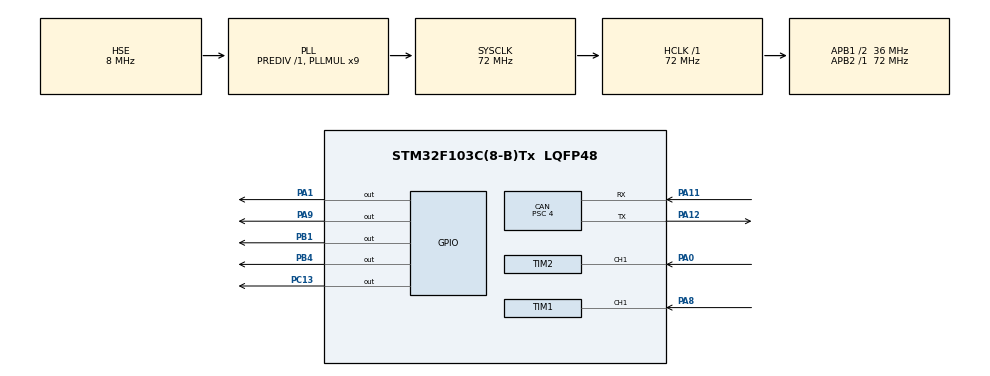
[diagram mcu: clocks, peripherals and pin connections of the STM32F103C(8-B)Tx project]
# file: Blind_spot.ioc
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CAN.BS1=CAN_BS1_15TQ
CAN.BS2=CAN_BS2_2TQ
CAN.CalculateBaudRate=500000
CAN.CalculateTimeBit=2000
CAN.CalculateTimeQuantum=111.11111111111111
CAN.Prescaler=4
Mcu.Family=STM32F1
Mcu.Name=STM32F103C(8-B)Tx
Mcu.Package=LQFP48
NVIC.PriorityGroup=NVIC_PRIORITYGROUP_4
NVIC.TIM1_CC_IRQn=true\:0\:0\:false\:false\:true\:true\:true\:true
NVIC.TIM2_IRQn=true\:0\:0\:false\:false\:true\:true\:true\:true
PA0-WKUP.Signal=S_TIM2_CH1_ETR
PA1.Signal=GPIO_Output
PA11.GPIO_PuPd=GPIO_PULLUP
PA11.Mode=CAN_Activate
PA11.Signal=CAN_RX
PA12.Mode=CAN_Activate
PA12.Signal=CAN_TX
PA13.Mode=Serial_Wire
PA13.Signal=SYS_JTMS-SWDIO
PA14.Mode=Serial_Wire
PA14.Signal=SYS_JTCK-SWCLK
PA8.Signal=S_TIM1_CH1
PA9.Signal=GPIO_Output
PB1.GPIO_PuPd=GPIO_PULLUP
PB1.Signal=GPIO_Output
PB4.GPIO_PuPd=GPIO_PULLUP
PB4.Signal=GPIO_Output
PC13-TAMPER-RTC.GPIO_PuPd=GPIO_PULLUP
PC13-TAMPER-RTC.Signal=GPIO_Output
PD0-OSC_IN.Mode=HSE-External-Oscillator
PD0-OSC_IN.Signal=RCC_OSC_IN
PD1-OSC_OUT.Mode=HSE-External-Oscillator
PD1-OSC_OUT.Signal=RCC_OSC_OUT
ProjectManager.HeapSize=0x200
ProjectManager.StackSize=0x400
ProjectManager.TargetToolchain=STM32CubeIDE
RCC.AHBFreq_Value=72000000
RCC.APB1CLKDivider=RCC_HCLK_DIV2
RCC.APB1Freq_Value=36000000
RCC.APB1TimFreq_Value=72000000
RCC.APB2Freq_Value=72000000
RCC.APB2TimFreq_Value=72000000
RCC.HCLKFreq_Value=72000000
RCC.PLLMUL=RCC_PLL_MUL9
RCC.PLLSourceVirtual=RCC_PLLSOURCE_HSE
RCC.SYSCLKFreq_VALUE=72000000
RCC.SYSCLKSource=RCC_SYSCLKSOURCE_PLLCLK
RCC.USBFreq_Value=72000000
SH.S_TIM1_CH1.0=TIM1_CH1,Input_Capture1_from_TI1
SH.S_TIM2_CH1_ETR.0=TIM2_CH1,Input_Capture1_from_TI1
TIM1.Channel-Input_Capture1_from_TI1=TIM_CHANNEL_1
TIM1.Prescaler=71
TIM2.Channel-Input_Capture1_from_TI1=TIM_CHANNEL_1
TIM2.Prescaler=71
VP_TIM1_VS_ClockSourceINT.Mode=Internal
VP_TIM2_VS_ClockSourceINT.Mode=Internal
board=custom

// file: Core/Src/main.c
/* USER CODE BEGIN Header */
/**
  ******************************************************************************
  * @file           : main.c
  * @brief          : Main program body
  ******************************************************************************
  * @attention
  *
  * Copyright (c) 2025 STMicroelectronics.
  * All rights reserved.
  *
  * This software is licensed under terms that can be found in the LICENSE file
  * in the root directory of this software component.
  * If no LICENSE file comes with this software, it is provided AS-IS.
  *
  ******************************************************************************
  */
/* USER CODE END Header */
#include "main.h"

/* USER CODE BEGIN PD */
#define ULSN_TRIG_PORT GPIOA
#define ULSN_1_TRIG_PIN GPIO_PIN_1
#define ULSN_2_TRIG_PIN GPIO_PIN_9
/* USER CODE END PD */

CAN_HandleTypeDef hcan;

TIM_HandleTypeDef htim1;
TIM_HandleTypeDef htim2;

/* USER CODE BEGIN PV */
// Ultrasonic left
uint32_t value1_sensor_left = 0;
uint32_t value2_sensor_left = 0;
uint32_t Diff_sensor_left = 0;
uint8_t Is_First_Captured_sensor_left = 0;
uint8_t Distance_sensor_left = 0;

// Ultrasonic right
uint32_t value1_sensor_right = 0;
uint32_t value2_sensor_right = 0;
uint32_t Diff_sensor_right = 0;
uint8_t Is_First_Captured_sensor_right = 0;
uint8_t Distance_sensor_right = 0;
/* USER CODE END PV */

void SystemClock_Config(void);
static void MX_GPIO_Init(void);
static void MX_CAN_Init(void);
static void MX_TIM1_Init(void);
static void MX_TIM2_Init(void);

/* USER CODE BEGIN 0 */
void delay_us(uint16_t us)
{
    __HAL_TIM_SET_COUNTER(&htim1, 0);
    while (__HAL_TIM_GET_COUNTER(&htim1) < us);
}
void HAL_TIM_IC_CaptureCallback(TIM_HandleTypeDef *htim)
{
    // Cảm biến 1 (TIM1_CH1)
    if (htim->Instance == TIM1 && htim->Channel == HAL_TIM_ACTIVE_CHANNEL_1)
    {
        if (Is_First_Captured_sensor_left == 0)
        {
            value1_sensor_left = HAL_TIM_ReadCapturedValue(htim, TIM_CHANNEL_1);
            Is_First_Captured_sensor_left = 1;
            __HAL_TIM_SET_CAPTUREPOLARITY(htim, TIM_CHANNEL_1, TIM_INPUTCHANNELPOLARITY_FALLING);
        }
        else if (Is_First_Captured_sensor_left == 1)
        {
            value2_sensor_left = HAL_TIM_ReadCapturedValue(htim, TIM_CHANNEL_1);
            __HAL_TIM_SET_COUNTER(htim, 0);
            if (value2_sensor_left > value1_sensor_left)
            {
                Diff_sensor_left = value2_sensor_left - value1_sensor_left;
            }
            else if (value1_sensor_left > value2_sensor_left)
            {
                Diff_sensor_left = (0xffff - value1_sensor_left) + value2_sensor_left;
            }
            Distance_sensor_left = (Diff_sensor_left * 0.034) / 2;
            Is_First_Captured_sensor_left = 0;
            __HAL_TIM_SET_CAPTUREPOLARITY(htim, TIM_CHANNEL_1, TIM_INPUTCHANNELPOLARITY_RISING);
            __HAL_TIM_DISABLE_IT(&htim1, TIM_IT_CC1);
        }
    }
    // Cảm biến 2 (TIM2_CH1)
    if (htim->Instance == TIM2 && htim->Channel == HAL_TIM_ACTIVE_CHANNEL_1)
    {
        if (Is_First_Captured_sensor_right == 0)
        {
            value1_sensor_right = HAL_TIM_ReadCapturedValue(htim, TIM_CHANNEL_1);
            Is_First_Captured_sensor_right = 1;
            __HAL_TIM_SET_CAPTUREPOLARITY(htim, TIM_CHANNEL_1, TIM_INPUTCHANNELPOLARITY_FALLING);
        }
        else if (Is_First_Captured_sensor_right == 1)
        {
            value2_sensor_right = HAL_TIM_ReadCapturedValue(htim, TIM_CHANNEL_1);
            __HAL_TIM_SET_COUNTER(htim, 0);
            if (value2_sensor_right > value1_sensor_right)
            {
                Diff_sensor_right = value2_sensor_right - value1_sensor_right;
            }
            else if (value1_sensor_right > value2_sensor_right)
            {
                Diff_sensor_right = (0xffff - value1_sensor_right) + value2_sensor_right;
            }
            Distance_sensor_right = (Diff_sensor_right * 0.034) / 2;
            Is_First_Captured_sensor_right = 0;
            __HAL_TIM_SET_CAPTUREPOLARITY(htim, TIM_CHANNEL_1, TIM_INPUTCHANNELPOLARITY_RISING);
            __HAL_TIM_DISABLE_IT(&htim2, TIM_IT_CC1);
        }
    }
}
void HCSR04_Read(void)
{
	HAL_GPIO_WritePin(ULSN_TRIG_PORT, ULSN_1_TRIG_PIN, GPIO_PIN_SET);
    delay_us(10);
    HAL_GPIO_WritePin(ULSN_TRIG_PORT, ULSN_1_TRIG_PIN, GPIO_PIN_RESET);
    __HAL_TIM_ENABLE_IT(&htim1, TIM_IT_CC1);
    while (Is_First_Captured_sensor_left != 0 || Distance_sensor_left == 0);

    delay_us(50);
    // Đo cảm biến 2
    HAL_GPIO_WritePin(ULSN_TRIG_PORT, ULSN_2_TRIG_PIN, GPIO_PIN_SET);
    delay_us(10);
    HAL_GPIO_WritePin(ULSN_TRIG_PORT, ULSN_2_TRIG_PIN, GPIO_PIN_RESET);
    __HAL_TIM_ENABLE_IT(&htim2, TIM_IT_CC1);
    while (Is_First_Captured_sensor_right != 0 || Distance_sensor_right == 0);
}
void CAN_Send_Distances(uint8_t blind1, uint8_t blind2)
{
    CAN_TxHeaderTypeDef TxHeader;
    uint8_t TxData[2];
    uint32_t TxMailbox;

    TxHeader.StdId = 0x03;         // ID tin nhắn
    TxHeader.RTR = CAN_RTR_DATA;
    TxHeader.IDE = CAN_ID_STD;
    TxHeader.DLC = 2;               // 2 byte: dist1, dist2
    TxHeader.TransmitGlobalTime = DISABLE;

    TxData[0] = blind1;              // Khoảng cách cảm biến 1
    TxData[1] = blind2;              // Khoảng cách cảm biến 2

    if (HAL_CAN_AddTxMessage(&hcan, &TxHeader, TxData, &TxMailbox) != HAL_OK)
    {
        Error_Handler();
    }
}
/* USER CODE END 0 */

int main(void)
{

  /* MCU Configuration--------------------------------------------------------*/

  /* Reset of all peripherals, Initializes the Flash interface and the Systick. */
  HAL_Init();

  /* Configure the system clock */
  SystemClock_Config();

  /* Initialize all configured peripherals */
  MX_GPIO_Init();
  MX_CAN_Init();
  MX_TIM1_Init();
  MX_TIM2_Init();
  /* USER CODE BEGIN 2 */
  HAL_TIM_IC_Start_IT(&htim1, TIM_CHANNEL_1);
  HAL_TIM_IC_Start_IT(&htim2, TIM_CHANNEL_1);
  HAL_CAN_Start(&hcan);
  /* USER CODE END 2 */

  /* Infinite loop */
  while (1)
  {

    /* USER CODE BEGIN 3 */
	  uint8_t blind_detect_left,blind_detect_right;
	  HCSR04_Read();
	  if(Distance_sensor_left < 15)
	  {
		  blind_detect_left = 1;
		  HAL_GPIO_WritePin(GPIOB, GPIO_PIN_4, GPIO_PIN_SET);
	  }
	  else
	  {
		  blind_detect_left = 0;
		  HAL_GPIO_WritePin(GPIOB, GPIO_PIN_4, GPIO_PIN_RESET);
	  }
	  if(Distance_sensor_right < 15)
	  {
		  blind_detect_right = 1;
		  HAL_GPIO_WritePin(GPIOB, GPIO_PIN_1, GPIO_PIN_SET);
	  }
	  else
	  {
		  blind_detect_right = 0;
		  HAL_GPIO_WritePin(GPIOB, GPIO_PIN_1, GPIO_PIN_RESET);
	  }
	  CAN_Send_Distances(blind_detect_left, blind_detect_right);
	  HAL_Delay(100);
  }
  /* USER CODE END 3 */
}

void SystemClock_Config(void)
{
  RCC_OscInitTypeDef RCC_OscInitStruct = {0};
  RCC_ClkInitTypeDef RCC_ClkInitStruct = {0};

  /** Initializes the RCC Oscillators according to the specified parameters
  * in the RCC_OscInitTypeDef structure.
  */
  RCC_OscInitStruct.OscillatorType = RCC_OSCILLATORTYPE_HSE;
  RCC_OscInitStruct.HSEState = RCC_HSE_ON;
  RCC_OscInitStruct.HSEPredivValue = RCC_HSE_PREDIV_DIV1;
  RCC_OscInitStruct.HSIState = RCC_HSI_ON;
  RCC_OscInitStruct.PLL.PLLState = RCC_PLL_ON;
  RCC_OscInitStruct.PLL.PLLSource = RCC_PLLSOURCE_HSE;
  RCC_OscInitStruct.PLL.PLLMUL = RCC_PLL_MUL9;
  if (HAL_RCC_OscConfig(&RCC_OscInitStruct) != HAL_OK)
  {
    Error_Handler();
  }

  /** Initializes the CPU, AHB and APB buses clocks
  */
  RCC_ClkInitStruct.ClockType = RCC_CLOCKTYPE_HCLK|RCC_CLOCKTYPE_SYSCLK
                              |RCC_CLOCKTYPE_PCLK1|RCC_CLOCKTYPE_PCLK2;
  RCC_ClkInitStruct.SYSCLKSource = RCC_SYSCLKSOURCE_PLLCLK;
  RCC_ClkInitStruct.AHBCLKDivider = RCC_SYSCLK_DIV1;
  RCC_ClkInitStruct.APB1CLKDivider = RCC_HCLK_DIV2;
  RCC_ClkInitStruct.APB2CLKDivider = RCC_HCLK_DIV1;

  if (HAL_RCC_ClockConfig(&RCC_ClkInitStruct, FLASH_LATENCY_2) != HAL_OK)
  {
    Error_Handler();
  }
}

static void MX_CAN_Init(void)
{

  hcan.Instance = CAN1;
  hcan.Init.Prescaler = 4;
  hcan.Init.Mode = CAN_MODE_NORMAL;
  hcan.Init.SyncJumpWidth = CAN_SJW_1TQ;
  hcan.Init.TimeSeg1 = CAN_BS1_15TQ;
  hcan.Init.TimeSeg2 = CAN_BS2_2TQ;
  hcan.Init.TimeTriggeredMode = DISABLE;
  hcan.Init.AutoBusOff = DISABLE;
  hcan.Init.AutoWakeUp = DISABLE;
  hcan.Init.AutoRetransmission = DISABLE;
  hcan.Init.ReceiveFifoLocked = DISABLE;
  hcan.Init.TransmitFifoPriority = DISABLE;
  if (HAL_CAN_Init(&hcan) != HAL_OK)
  {
    Error_Handler();
  }

}

static void MX_TIM1_Init(void)
{

  TIM_ClockConfigTypeDef sClockSourceConfig = {0};
  TIM_MasterConfigTypeDef sMasterConfig = {0};
  TIM_IC_InitTypeDef sConfigIC = {0};

  htim1.Instance = TIM1;
  htim1.Init.Prescaler = 71;
  htim1.Init.CounterMode = TIM_COUNTERMODE_UP;
  htim1.Init.Period = 65535;
  htim1.Init.ClockDivision = TIM_CLOCKDIVISION_DIV1;
  htim1.Init.RepetitionCounter = 0;
  htim1.Init.AutoReloadPreload = TIM_AUTORELOAD_PRELOAD_DISABLE;
  if (HAL_TIM_Base_Init(&htim1) != HAL_OK)
  {
    Error_Handler();
  }
  sClockSourceConfig.ClockSource = TIM_CLOCKSOURCE_INTERNAL;
  if (HAL_TIM_ConfigClockSource(&htim1, &sClockSourceConfig) != HAL_OK)
  {
    Error_Handler();
  }
  if (HAL_TIM_IC_Init(&htim1) != HAL_OK)
  {
    Error_Handler();
  }
  sMasterConfig.MasterOutputTrigger = TIM_TRGO_RESET;
  sMasterConfig.MasterSlaveMode = TIM_MASTERSLAVEMODE_DISABLE;
  if (HAL_TIMEx_MasterConfigSynchronization(&htim1, &sMasterConfig) != HAL_OK)
  {
    Error_Handler();
  }
  sConfigIC.ICPolarity = TIM_INPUTCHANNELPOLARITY_RISING;
  sConfigIC.ICSelection = TIM_ICSELECTION_DIRECTTI;
  sConfigIC.ICPrescaler = TIM_ICPSC_DIV1;
  sConfigIC.ICFilter = 0;
  if (HAL_TIM_IC_ConfigChannel(&htim1, &sConfigIC, TIM_CHANNEL_1) != HAL_OK)
  {
    Error_Handler();
  }

}

static void MX_TIM2_Init(void)
{

  TIM_ClockConfigTypeDef sClockSourceConfig = {0};
  TIM_MasterConfigTypeDef sMasterConfig = {0};
  TIM_IC_InitTypeDef sConfigIC = {0};

  htim2.Instance = TIM2;
  htim2.Init.Prescaler = 71;
  htim2.Init.CounterMode = TIM_COUNTERMODE_UP;
  htim2.Init.Period = 65535;
  htim2.Init.ClockDivision = TIM_CLOCKDIVISION_DIV1;
  htim2.Init.AutoReloadPreload = TIM_AUTORELOAD_PRELOAD_DISABLE;
  if (HAL_TIM_Base_Init(&htim2) != HAL_OK)
  {
    Error_Handler();
  }
  sClockSourceConfig.ClockSource = TIM_CLOCKSOURCE_INTERNAL;
  if (HAL_TIM_ConfigClockSource(&htim2, &sClockSourceConfig) != HAL_OK)
  {
    Error_Handler();
  }
  if (HAL_TIM_IC_Init(&htim2) != HAL_OK)
  {
    Error_Handler();
  }
  sMasterConfig.MasterOutputTrigger = TIM_TRGO_RESET;
  sMasterConfig.MasterSlaveMode = TIM_MASTERSLAVEMODE_DISABLE;
  if (HAL_TIMEx_MasterConfigSynchronization(&htim2, &sMasterConfig) != HAL_OK)
  {
    Error_Handler();
  }
  sConfigIC.ICPolarity = TIM_INPUTCHANNELPOLARITY_RISING;
  sConfigIC.ICSelection = TIM_ICSELECTION_DIRECTTI;
  sConfigIC.ICPrescaler = TIM_ICPSC_DIV1;
  sConfigIC.ICFilter = 0;
  if (HAL_TIM_IC_ConfigChannel(&htim2, &sConfigIC, TIM_CHANNEL_1) != HAL_OK)
  {
    Error_Handler();
  }

}

static void MX_GPIO_Init(void)
{
  GPIO_InitTypeDef GPIO_InitStruct = {0};

  /* GPIO Ports Clock Enable */
  __HAL_RCC_GPIOC_CLK_ENABLE();
  __HAL_RCC_GPIOD_CLK_ENABLE();
  __HAL_RCC_GPIOA_CLK_ENABLE();
  __HAL_RCC_GPIOB_CLK_ENABLE();

  /*Configure GPIO pin Output Level */
  HAL_GPIO_WritePin(GPIOC, GPIO_PIN_13, GPIO_PIN_RESET);

  /*Configure GPIO pin Output Level */
  HAL_GPIO_WritePin(GPIOA, GPIO_PIN_1|GPIO_PIN_9, GPIO_PIN_RESET);

  /*Configure GPIO pin Output Level */
  HAL_GPIO_WritePin(GPIOB, GPIO_PIN_1|GPIO_PIN_4, GPIO_PIN_RESET);

  /*Configure GPIO pin : PC13 */
  GPIO_InitStruct.Pin = GPIO_PIN_13;
  GPIO_InitStruct.Mode = GPIO_MODE_OUTPUT_PP;
  GPIO_InitStruct.Pull = GPIO_PULLUP;
  GPIO_InitStruct.Speed = GPIO_SPEED_FREQ_LOW;
  HAL_GPIO_Init(GPIOC, &GPIO_InitStruct);

  /*Configure GPIO pins : PA1 PA9 */
  GPIO_InitStruct.Pin = GPIO_PIN_1|GPIO_PIN_9;
  GPIO_InitStruct.Mode = GPIO_MODE_OUTPUT_PP;
  GPIO_InitStruct.Pull = GPIO_NOPULL;
  GPIO_InitStruct.Speed = GPIO_SPEED_FREQ_LOW;
  HAL_GPIO_Init(GPIOA, &GPIO_InitStruct);

  /*Configure GPIO pins : PB1 PB4 */
  GPIO_InitStruct.Pin = GPIO_PIN_1|GPIO_PIN_4;
  GPIO_InitStruct.Mode = GPIO_MODE_OUTPUT_PP;
  GPIO_InitStruct.Pull = GPIO_PULLUP;
  GPIO_InitStruct.Speed = GPIO_SPEED_FREQ_LOW;
  HAL_GPIO_Init(GPIOB, &GPIO_InitStruct);

}

void Error_Handler(void)
{
  /* USER CODE BEGIN Error_Handler_Debug */
  /* User can add his own implementation to report the HAL error return state */
  __disable_irq();
  while (1)
  {
	  HAL_GPIO_TogglePin(GPIOC, GPIO_PIN_13);
	  HAL_Delay(100);
  }
  /* USER CODE END Error_Handler_Debug */
}
